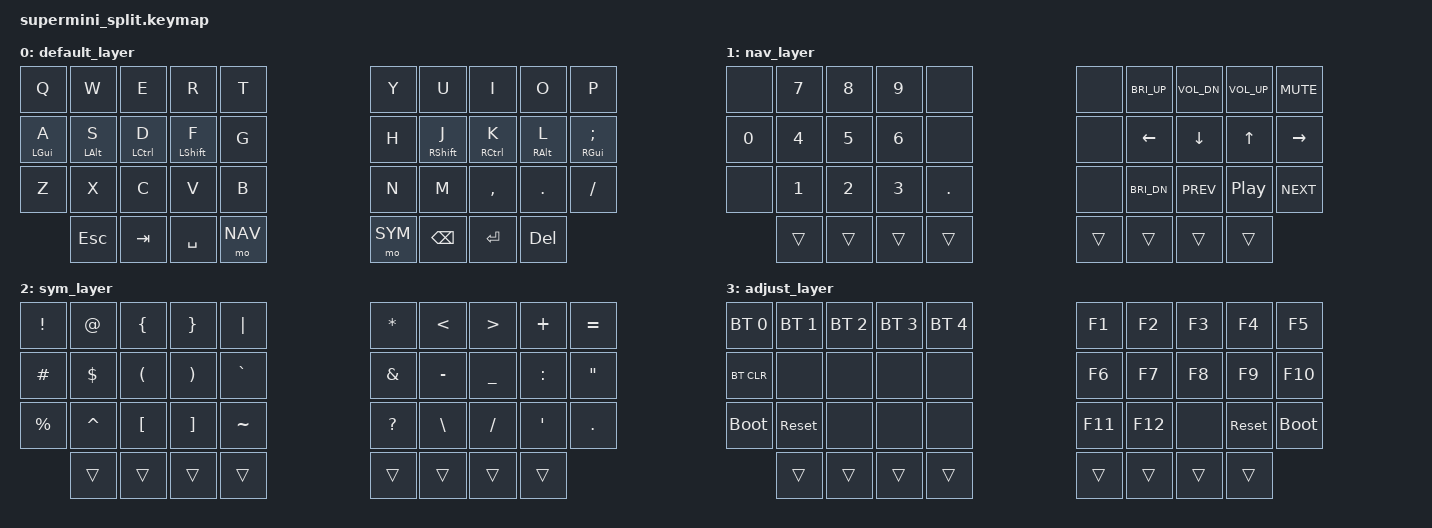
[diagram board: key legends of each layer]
#include <behaviors.dtsi>
#include <dt-bindings/zmk/keys.h>
#include <dt-bindings/zmk/bt.h>

/* Визначаємо назви шарів для зручності читання коду */
#define BASE 0
#define NAV  1
#define SYM  2
#define ADJ  3

/ {
    /* Налаштування поведінки кнопок (Home Row Mods) */
    behaviors {
        hm: homerow_mods {
            compatible = "zmk,behavior-hold-tap";
            label = "HOMEROW_MODS";
            #binding-cells = <2>;
            tapping-term-ms = <200>; /* Час утримання (в мілісекундах) */
            quick-tap-ms = <150>;    /* Дозволяє швидко друкувати подвійні літери */
            flavor = "tap-preferred";
            bindings = <&kp>, <&kp>;
        };
    };

    /* Умова: якщо затиснуті шари NAV та SYM одночасно, активувати шар ADJ */
    conditional_layers {
        compatible = "zmk,conditional-layers";
        tri_layer {
            if-layers = <NAV SYM>;
            then-layer = <ADJ>;
        };
    };

    keymap {
        compatible = "zmk,keymap";

        /* Шар 0: Базовий (Апаратний QWERTY + модифікатори на домашньому ряду) */
        default_layer {
            bindings = <
/* Ліва половина */
&kp Q       &kp W      &kp E       &kp R       &kp T          /* Права половина */ &kp Y       &kp U       &kp I       &kp O       &kp P
&hm LGUI A  &hm LALT S &hm LCTRL D &hm LSHFT F &kp G                               &kp H       &hm RSHFT J &hm RCTRL K &hm RALT L  &hm RGUI SEMI
&kp Z       &kp X      &kp C       &kp V       &kp B                               &kp N       &kp M       &kp COMMA   &kp DOT     &kp FSLH
            /* Великий палець */
            &kp ESC    &kp TAB     &kp SPACE   &mo NAV                             &mo SYM     &kp BSPC    &kp RET     &kp DEL
            >;
        };

        /* Шар 1: Навігація, Цифри та Медіа */
        nav_layer {
            bindings = <
/* Лівий цифровий блок (Numpad) */
&none       &kp N7     &kp N8      &kp N9      &none          /* Права навігація (Vim-style) */ &none       &kp C_BRI_UP &kp C_VOL_DN &kp C_VOL_UP &kp C_MUTE
&kp N0      &kp N4     &kp N5      &kp N6      &none                                            &none       &kp LEFT     &kp DOWN     &kp UP       &kp RIGHT
&none       &kp N1     &kp N2      &kp N3      &kp DOT                                          &none       &kp C_BRI_DN &kp C_PREV   &kp C_PP     &kp C_NEXT
            /* Великий палець */
            &trans     &trans      &trans      &trans                                           &trans      &trans       &trans       &trans
            >;
        };

        /* Шар 2: Символи для програмування */
        sym_layer {
            bindings = <
/* Ліва рука: Дужки та знаки */
&kp EXCL    &kp AT     &kp LBRC    &kp RBRC    &kp PIPE       /* Права рука: Оператори */ &kp STAR    &kp LT       &kp GT       &kp PLUS    &kp EQUAL
&kp HASH    &kp DLLR   &kp LPAR    &kp RPAR    &kp GRAVE                                  &kp AMPS    &kp MINUS    &kp UNDER    &kp COLON   &kp DQT
&kp PRCNT   &kp CARET  &kp LBKT    &kp RBKT    &kp TILDE                                  &kp QMARK   &kp BSLH     &kp FSLH     &kp SQT     &kp DOT
            /* Великий палець */
            &trans     &trans      &trans      &trans                                     &trans      &trans       &trans       &trans
            >;
        };

        /* Шар 3: Налаштування Bluetooth та F-клавіші */
        adjust_layer {
            bindings = <
/* Ліва рука: Управління ZMK та Bluetooth */
&bt BT_SEL 0 &bt BT_SEL 1 &bt BT_SEL 2 &bt BT_SEL 3 &bt BT_SEL 4   /* Права рука: F-клавіші */ &kp F1      &kp F2       &kp F3       &kp F4      &kp F5
&bt BT_CLR   &none        &none        &none        &none                                      &kp F6      &kp F7       &kp F8       &kp F9      &kp F10
&bootloader  &sys_reset   &none        &none        &none                                      &kp F11     &kp F12      &none        &sys_reset  &bootloader
             /* Великий палець */
             &trans       &trans       &trans       &trans                                     &trans      &trans       &trans       &trans
            >;
        };
    };
};
